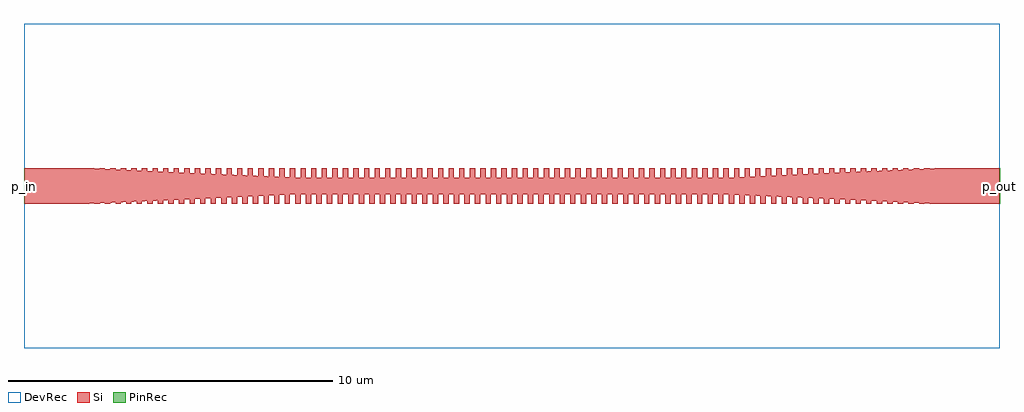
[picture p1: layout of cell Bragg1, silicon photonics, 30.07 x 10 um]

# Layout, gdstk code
import gdstk
lib = gdstk.Library(unit=1e-6, precision=1e-09)
def R(c, l, rs):  # rectangles x0, y0, x1, y1
    for r in rs: c.add(gdstk.rectangle(r[:2], r[2:], *l))
def P(c, l, *ps):  # polygons
    for p in ps: c.add(gdstk.Polygon(p, *l))
Si = (1, 0)
PinRec = (1, 10)
DevRec = (68, 0)

u_corr41 = lib.new_cell('U_corr41')
R(u_corr41, Si, [(15.027,0,15.191,0.55)])

b_corr40 = lib.new_cell('B_corr40')
R(b_corr40, Si, [(14.866,-0.55,15.029,0)])

c_wg = lib.new_cell('wg')
R(c_wg, Si, [(8.514,-0.26,21.542,0.26)])

u_corr79 = lib.new_cell('U_corr79')
R(u_corr79, Si, [(27.405,0,27.568,0.55)])

b_corr78 = lib.new_cell('B_corr78')
R(b_corr78, Si, [(27.242,-0.55,27.405,0)])

u_corr78 = lib.new_cell('U_corr78')
R(u_corr78, Si, [(27.079,0,27.242,0.55)])

b_corr77 = lib.new_cell('B_corr77')
R(b_corr77, Si, [(26.916,-0.55,27.079,0)])

u_corr77 = lib.new_cell('U_corr77')
R(u_corr77, Si, [(26.754,0,26.917,0.55)])

b_corr76 = lib.new_cell('B_corr76')
R(b_corr76, Si, [(26.591,-0.55,26.754,0)])

u_corr76 = lib.new_cell('U_corr76')
R(u_corr76, Si, [(26.428,0,26.591,0.55)])

b_corr75 = lib.new_cell('B_corr75')
R(b_corr75, Si, [(26.265,-0.55,26.428,0)])

u_corr75 = lib.new_cell('U_corr75')
R(u_corr75, Si, [(26.102,0,26.265,0.55)])

b_corr74 = lib.new_cell('B_corr74')
R(b_corr74, Si, [(25.939,-0.55,26.102,0)])

u_corr74 = lib.new_cell('U_corr74')
R(u_corr74, Si, [(25.777,0,25.94,0.55)])

b_corr73 = lib.new_cell('B_corr73')
R(b_corr73, Si, [(25.614,-0.55,25.776,0)])

u_corr73 = lib.new_cell('U_corr73')
R(u_corr73, Si, [(25.451,0,25.614,0.55)])

b_corr72 = lib.new_cell('B_corr72')
R(b_corr72, Si, [(25.288,-0.55,25.45,0)])

u_corr72 = lib.new_cell('U_corr72')
R(u_corr72, Si, [(25.125,0,25.288,0.55)])

b_corr71 = lib.new_cell('B_corr71')
R(b_corr71, Si, [(24.962,-0.55,25.125,0)])

u_corr71 = lib.new_cell('U_corr71')
R(u_corr71, Si, [(24.799,0,24.962,0.55)])

b_corr70 = lib.new_cell('B_corr70')
R(b_corr70, Si, [(24.637,-0.55,24.8,0)])

u_corr70 = lib.new_cell('U_corr70')
R(u_corr70, Si, [(24.474,0,24.637,0.55)])

b_corr69 = lib.new_cell('B_corr69')
R(b_corr69, Si, [(24.311,-0.55,24.474,0)])

u_corr69 = lib.new_cell('U_corr69')
R(u_corr69, Si, [(24.148,0,24.311,0.55)])

b_corr68 = lib.new_cell('B_corr68')
R(b_corr68, Si, [(23.985,-0.55,24.148,0)])

u_corr68 = lib.new_cell('U_corr68')
R(u_corr68, Si, [(23.822,0,23.985,0.55)])

b_corr67 = lib.new_cell('B_corr67')
R(b_corr67, Si, [(23.659,-0.55,23.822,0)])

u_corr67 = lib.new_cell('U_corr67')
R(u_corr67, Si, [(23.497,0,23.659,0.55)])

b_corr66 = lib.new_cell('B_corr66')
R(b_corr66, Si, [(23.334,-0.55,23.497,0)])

u_corr66 = lib.new_cell('U_corr66')
R(u_corr66, Si, [(23.171,0,23.333,0.55)])

b_corr65 = lib.new_cell('B_corr65')
R(b_corr65, Si, [(23.008,-0.55,23.171,0)])

u_corr65 = lib.new_cell('U_corr65')
R(u_corr65, Si, [(22.845,0,23.007,0.55)])

b_corr64 = lib.new_cell('B_corr64')
R(b_corr64, Si, [(22.682,-0.55,22.845,0)])

u_corr64 = lib.new_cell('U_corr64')
R(u_corr64, Si, [(22.52,0,22.683,0.55)])

b_corr63 = lib.new_cell('B_corr63')
R(b_corr63, Si, [(22.357,-0.55,22.52,0)])

u_corr63 = lib.new_cell('U_corr63')
R(u_corr63, Si, [(22.194,0,22.357,0.55)])

b_corr62 = lib.new_cell('B_corr62')
R(b_corr62, Si, [(22.031,-0.55,22.194,0)])

u_corr62 = lib.new_cell('U_corr62')
R(u_corr62, Si, [(21.868,0,22.031,0.55)])

b_corr61 = lib.new_cell('B_corr61')
R(b_corr61, Si, [(21.705,-0.55,21.868,0)])

u_corr61 = lib.new_cell('U_corr61')
R(u_corr61, Si, [(21.542,0,21.705,0.55)])

b_corr60 = lib.new_cell('B_corr60')
R(b_corr60, Si, [(21.38,-0.55,21.542,0)])

u_corr60 = lib.new_cell('U_corr60')
R(u_corr60, Si, [(21.217,0,21.38,0.55)])

b_corr59 = lib.new_cell('B_corr59')
R(b_corr59, Si, [(21.054,-0.55,21.216,0)])

u_corr59 = lib.new_cell('U_corr59')
R(u_corr59, Si, [(20.891,0,21.054,0.55)])

b_corr58 = lib.new_cell('B_corr58')
R(b_corr58, Si, [(20.728,-0.55,20.89,0)])

u_corr58 = lib.new_cell('U_corr58')
R(u_corr58, Si, [(20.565,0,20.728,0.55)])

b_corr57 = lib.new_cell('B_corr57')
R(b_corr57, Si, [(20.402,-0.55,20.564,0)])

u_corr57 = lib.new_cell('U_corr57')
R(u_corr57, Si, [(20.24,0,20.403,0.55)])

b_corr56 = lib.new_cell('B_corr56')
R(b_corr56, Si, [(20.077,-0.55,20.24,0)])

u_corr56 = lib.new_cell('U_corr56')
R(u_corr56, Si, [(19.914,0,20.077,0.55)])

b_corr55 = lib.new_cell('B_corr55')
R(b_corr55, Si, [(19.751,-0.55,19.914,0)])

u_corr55 = lib.new_cell('U_corr55')
R(u_corr55, Si, [(19.588,0,19.751,0.55)])

b_corr54 = lib.new_cell('B_corr54')
R(b_corr54, Si, [(19.425,-0.55,19.588,0)])

u_corr54 = lib.new_cell('U_corr54')
R(u_corr54, Si, [(19.263,0,19.425,0.55)])

b_corr53 = lib.new_cell('B_corr53')
R(b_corr53, Si, [(19.1,-0.55,19.263,0)])

u_corr53 = lib.new_cell('U_corr53')
R(u_corr53, Si, [(18.937,0,19.099,0.55)])

b_corr52 = lib.new_cell('B_corr52')
R(b_corr52, Si, [(18.774,-0.55,18.937,0)])

u_corr52 = lib.new_cell('U_corr52')
R(u_corr52, Si, [(18.611,0,18.773,0.55)])

b_corr51 = lib.new_cell('B_corr51')
R(b_corr51, Si, [(18.448,-0.55,18.611,0)])

u_corr51 = lib.new_cell('U_corr51')
R(u_corr51, Si, [(18.285,0,18.447,0.55)])

b_corr50 = lib.new_cell('B_corr50')
R(b_corr50, Si, [(18.123,-0.55,18.286,0)])

u_corr50 = lib.new_cell('U_corr50')
R(u_corr50, Si, [(17.96,0,18.123,0.55)])

b_corr49 = lib.new_cell('B_corr49')
R(b_corr49, Si, [(17.797,-0.55,17.96,0)])

u_corr49 = lib.new_cell('U_corr49')
R(u_corr49, Si, [(17.634,0,17.797,0.55)])

b_corr48 = lib.new_cell('B_corr48')
R(b_corr48, Si, [(17.471,-0.55,17.634,0)])

u_corr48 = lib.new_cell('U_corr48')
R(u_corr48, Si, [(17.308,0,17.471,0.55)])

b_corr47 = lib.new_cell('B_corr47')
R(b_corr47, Si, [(17.145,-0.55,17.308,0)])

u_corr47 = lib.new_cell('U_corr47')
R(u_corr47, Si, [(16.983,0,17.146,0.55)])

b_corr46 = lib.new_cell('B_corr46')
R(b_corr46, Si, [(16.82,-0.55,16.982,0)])

u_corr46 = lib.new_cell('U_corr46')
R(u_corr46, Si, [(16.657,0,16.82,0.55)])

b_corr45 = lib.new_cell('B_corr45')
R(b_corr45, Si, [(16.494,-0.55,16.656,0)])

u_corr45 = lib.new_cell('U_corr45')
R(u_corr45, Si, [(16.331,0,16.494,0.55)])

b_corr44 = lib.new_cell('B_corr44')
R(b_corr44, Si, [(16.168,-0.55,16.33,0)])

u_corr44 = lib.new_cell('U_corr44')
R(u_corr44, Si, [(16.006,0,16.168,0.55)])

b_corr43 = lib.new_cell('B_corr43')
R(b_corr43, Si, [(15.843,-0.55,16.006,0)])

u_corr43 = lib.new_cell('U_corr43')
R(u_corr43, Si, [(15.68,0,15.842,0.55)])

b_corr42 = lib.new_cell('B_corr42')
R(b_corr42, Si, [(15.517,-0.55,15.68,0)])

u_corr42 = lib.new_cell('U_corr42')
R(u_corr42, Si, [(15.354,0,15.516,0.55)])

b_corr41 = lib.new_cell('B_corr41')
R(b_corr41, Si, [(15.191,-0.55,15.354,0)])

b_corr80 = lib.new_cell('B_corr80')
R(b_corr80, Si, [(27.894,-0.55,28.057,0)])

u_corr80 = lib.new_cell('U_corr80')
R(u_corr80, Si, [(27.731,0,27.893,0.55)])

wg_out = lib.new_cell('wg_Out')
R(wg_out, Si, [(28.056,-0.55,30.056,0.55)])

taper_out = lib.new_cell('taper_out')
P(taper_out, Si, [(28.056,-0.55),(21.542,-0.26),(21.542,0.26),(28.056,0.55)])

b_corr79 = lib.new_cell('B_corr79')
R(b_corr79, Si, [(27.568,-0.55,27.731,0)])

b_corr38 = lib.new_cell('B_corr38')
R(b_corr38, Si, [(14.214,-0.55,14.377,0)])

u_corr38 = lib.new_cell('U_corr38')
R(u_corr38, Si, [(14.051,0,14.214,0.55)])

b_corr37 = lib.new_cell('B_corr37')
R(b_corr37, Si, [(13.888,-0.55,14.051,0)])

u_corr37 = lib.new_cell('U_corr37')
R(u_corr37, Si, [(13.725,0,13.889,0.55)])

b_corr36 = lib.new_cell('B_corr36')
R(b_corr36, Si, [(13.562,-0.55,13.726,0)])

u_corr36 = lib.new_cell('U_corr36')
R(u_corr36, Si, [(13.399,0,13.563,0.55)])

b_corr35 = lib.new_cell('B_corr35')
R(b_corr35, Si, [(13.236,-0.55,13.4,0)])

u_corr35 = lib.new_cell('U_corr35')
R(u_corr35, Si, [(13.073,0,13.237,0.55)])

b_corr34 = lib.new_cell('B_corr34')
R(b_corr34, Si, [(12.91,-0.55,13.074,0)])

u_corr34 = lib.new_cell('U_corr34')
R(u_corr34, Si, [(12.749,0,12.912,0.55)])

b_corr33 = lib.new_cell('B_corr33')
R(b_corr33, Si, [(12.586,-0.55,12.749,0)])

u_corr33 = lib.new_cell('U_corr33')
R(u_corr33, Si, [(12.423,0,12.586,0.55)])

b_corr32 = lib.new_cell('B_corr32')
R(b_corr32, Si, [(12.26,-0.55,12.423,0)])

u_corr32 = lib.new_cell('U_corr32')
R(u_corr32, Si, [(12.097,0,12.26,0.55)])

b_corr31 = lib.new_cell('B_corr31')
R(b_corr31, Si, [(11.934,-0.55,12.097,0)])

u_corr31 = lib.new_cell('U_corr31')
R(u_corr31, Si, [(11.771,0,11.934,0.55)])

b_corr30 = lib.new_cell('B_corr30')
R(b_corr30, Si, [(11.608,-0.55,11.772,0)])

u_corr30 = lib.new_cell('U_corr30')
R(u_corr30, Si, [(11.445,0,11.609,0.55)])

b_corr29 = lib.new_cell('B_corr29')
R(b_corr29, Si, [(11.282,-0.55,11.446,0)])

u_corr29 = lib.new_cell('U_corr29')
R(u_corr29, Si, [(11.119,0,11.283,0.55)])

b_corr28 = lib.new_cell('B_corr28')
R(b_corr28, Si, [(10.956,-0.55,11.12,0)])

u_corr28 = lib.new_cell('U_corr28')
R(u_corr28, Si, [(10.793,0,10.957,0.55)])

b_corr27 = lib.new_cell('B_corr27')
R(b_corr27, Si, [(10.63,-0.55,10.794,0)])

u_corr27 = lib.new_cell('U_corr27')
R(u_corr27, Si, [(10.469,0,10.632,0.55)])

b_corr26 = lib.new_cell('B_corr26')
R(b_corr26, Si, [(10.306,-0.55,10.469,0)])

u_corr26 = lib.new_cell('U_corr26')
R(u_corr26, Si, [(10.143,0,10.306,0.55)])

b_corr25 = lib.new_cell('B_corr25')
R(b_corr25, Si, [(9.98,-0.55,10.143,0)])

u_corr25 = lib.new_cell('U_corr25')
R(u_corr25, Si, [(9.817,0,9.98,0.55)])

b_corr24 = lib.new_cell('B_corr24')
R(b_corr24, Si, [(9.654,-0.55,9.817,0)])

u_corr24 = lib.new_cell('U_corr24')
R(u_corr24, Si, [(9.492,0,9.655,0.55)])

b_corr23 = lib.new_cell('B_corr23')
R(b_corr23, Si, [(9.329,-0.55,9.492,0)])

u_corr23 = lib.new_cell('U_corr23')
R(u_corr23, Si, [(9.166,0,9.329,0.55)])

b_corr22 = lib.new_cell('B_corr22')
R(b_corr22, Si, [(9.002,-0.55,9.166,0)])

u_corr22 = lib.new_cell('U_corr22')
R(u_corr22, Si, [(8.839,0,9.003,0.55)])

b_corr21 = lib.new_cell('B_corr21')
R(b_corr21, Si, [(8.676,-0.55,8.84,0)])

u_corr21 = lib.new_cell('U_corr21')
R(u_corr21, Si, [(8.513,0,8.677,0.55)])

b_corr20 = lib.new_cell('B_corr20')
R(b_corr20, Si, [(8.351,-0.55,8.515,0)])

u_corr20 = lib.new_cell('U_corr20')
R(u_corr20, Si, [(8.188,0,8.352,0.55)])

b_corr19 = lib.new_cell('B_corr19')
R(b_corr19, Si, [(8.025,-0.55,8.189,0)])

u_corr19 = lib.new_cell('U_corr19')
R(u_corr19, Si, [(7.862,0,8.026,0.55)])

b_corr18 = lib.new_cell('B_corr18')
R(b_corr18, Si, [(7.699,-0.55,7.863,0)])

u_corr18 = lib.new_cell('U_corr18')
R(u_corr18, Si, [(7.537,0,7.7,0.55)])

b_corr17 = lib.new_cell('B_corr17')
R(b_corr17, Si, [(7.374,-0.55,7.537,0)])

u_corr17 = lib.new_cell('U_corr17')
R(u_corr17, Si, [(7.212,0,7.375,0.55)])

b_corr16 = lib.new_cell('B_corr16')
R(b_corr16, Si, [(7.049,-0.55,7.212,0)])

u_corr16 = lib.new_cell('U_corr16')
R(u_corr16, Si, [(6.886,0,7.049,0.55)])

b_corr15 = lib.new_cell('B_corr15')
R(b_corr15, Si, [(6.723,-0.55,6.886,0)])

u_corr15 = lib.new_cell('U_corr15')
R(u_corr15, Si, [(6.56,0,6.723,0.55)])

b_corr14 = lib.new_cell('B_corr14')
R(b_corr14, Si, [(6.397,-0.55,6.56,0)])

u_corr14 = lib.new_cell('U_corr14')
R(u_corr14, Si, [(6.235,0,6.398,0.55)])

b_corr13 = lib.new_cell('B_corr13')
R(b_corr13, Si, [(6.072,-0.55,6.235,0)])

u_corr13 = lib.new_cell('U_corr13')
R(u_corr13, Si, [(5.909,0,6.072,0.55)])

b_corr12 = lib.new_cell('B_corr12')
R(b_corr12, Si, [(5.746,-0.55,5.909,0)])

u_corr12 = lib.new_cell('U_corr12')
R(u_corr12, Si, [(5.583,0,5.746,0.55)])

b_corr11 = lib.new_cell('B_corr11')
R(b_corr11, Si, [(5.42,-0.55,5.583,0)])

u_corr11 = lib.new_cell('U_corr11')
R(u_corr11, Si, [(5.257,0,5.42,0.55)])

b_corr10 = lib.new_cell('B_corr10')
R(b_corr10, Si, [(5.095,-0.55,5.258,0)])

u_corr10 = lib.new_cell('U_corr10')
R(u_corr10, Si, [(4.932,0,5.095,0.55)])

b_corr9 = lib.new_cell('B_corr9')
R(b_corr9, Si, [(4.769,-0.55,4.932,0)])

u_corr9 = lib.new_cell('U_corr9')
R(u_corr9, Si, [(4.606,0,4.769,0.55)])

b_corr8 = lib.new_cell('B_corr8')
R(b_corr8, Si, [(4.443,-0.55,4.606,0)])

u_corr8 = lib.new_cell('U_corr8')
R(u_corr8, Si, [(4.28,0,4.443,0.55)])

b_corr7 = lib.new_cell('B_corr7')
R(b_corr7, Si, [(4.117,-0.55,4.28,0)])

u_corr7 = lib.new_cell('U_corr7')
R(u_corr7, Si, [(3.954,0,4.118,0.55)])

b_corr6 = lib.new_cell('B_corr6')
R(b_corr6, Si, [(3.792,-0.55,3.954,0)])

u_corr6 = lib.new_cell('U_corr6')
R(u_corr6, Si, [(3.629,0,3.792,0.55)])

b_corr5 = lib.new_cell('B_corr5')
R(b_corr5, Si, [(3.466,-0.55,3.629,0)])

u_corr5 = lib.new_cell('U_corr5')
R(u_corr5, Si, [(3.303,0,3.466,0.55)])

b_corr4 = lib.new_cell('B_corr4')
R(b_corr4, Si, [(3.14,-0.55,3.303,0)])

u_corr4 = lib.new_cell('U_corr4')
R(u_corr4, Si, [(2.978,0,3.141,0.55)])

b_corr3 = lib.new_cell('B_corr3')
R(b_corr3, Si, [(2.815,-0.55,2.978,0)])

u_corr3 = lib.new_cell('U_corr3')
R(u_corr3, Si, [(2.652,0,2.815,0.55)])

b_corr2 = lib.new_cell('B_corr2')
R(b_corr2, Si, [(2.489,-0.55,2.652,0)])

u_corr2 = lib.new_cell('U_corr2')
R(u_corr2, Si, [(2.326,0,2.489,0.55)])

b_corr1 = lib.new_cell('B_corr1')
R(b_corr1, Si, [(2.163,-0.55,2.326,0)])

u_corr1 = lib.new_cell('U_corr1')
R(u_corr1, Si, [(2,0,2.163,0.55)])

u_corr40 = lib.new_cell('U_corr40')
R(u_corr40, Si, [(14.703,0,14.866,0.55)])

b_corr39 = lib.new_cell('B_corr39')
R(b_corr39, Si, [(14.54,-0.55,14.703,0)])

u_corr39 = lib.new_cell('U_corr39')
R(u_corr39, Si, [(14.377,0,14.54,0.55)])

taper_in = lib.new_cell('taper_In')
P(taper_in, Si, [(2,-0.55),(2,0.55),(8.514,0.26),(8.514,-0.26)])

wg_in = lib.new_cell('wg_In')
R(wg_in, Si, [(0,-0.55,2,0.55)])

mm_bragg = lib.new_cell('MM_Bragg')
mm_bragg.add(gdstk.Reference(u_corr41, (0,0)))
mm_bragg.add(gdstk.Reference(b_corr40, (0,0)))
mm_bragg.add(gdstk.Reference(c_wg, (0,0)))
mm_bragg.add(gdstk.Reference(u_corr79, (0,0)))
mm_bragg.add(gdstk.Reference(b_corr78, (0,0)))
mm_bragg.add(gdstk.Reference(u_corr78, (0,0)))
mm_bragg.add(gdstk.Reference(b_corr77, (0,0)))
mm_bragg.add(gdstk.Reference(u_corr77, (0,0)))
mm_bragg.add(gdstk.Reference(b_corr76, (0,0)))
mm_bragg.add(gdstk.Reference(u_corr76, (0,0)))
mm_bragg.add(gdstk.Reference(b_corr75, (0,0)))
mm_bragg.add(gdstk.Reference(u_corr75, (0,0)))
mm_bragg.add(gdstk.Reference(b_corr74, (0,0)))
mm_bragg.add(gdstk.Reference(u_corr74, (0,0)))
mm_bragg.add(gdstk.Reference(b_corr73, (0,0)))
mm_bragg.add(gdstk.Reference(u_corr73, (0,0)))
mm_bragg.add(gdstk.Reference(b_corr72, (0,0)))
mm_bragg.add(gdstk.Reference(u_corr72, (0,0)))
mm_bragg.add(gdstk.Reference(b_corr71, (0,0)))
mm_bragg.add(gdstk.Reference(u_corr71, (0,0)))
mm_bragg.add(gdstk.Reference(b_corr70, (0,0)))
mm_bragg.add(gdstk.Reference(u_corr70, (0,0)))
mm_bragg.add(gdstk.Reference(b_corr69, (0,0)))
mm_bragg.add(gdstk.Reference(u_corr69, (0,0)))
mm_bragg.add(gdstk.Reference(b_corr68, (0,0)))
mm_bragg.add(gdstk.Reference(u_corr68, (0,0)))
mm_bragg.add(gdstk.Reference(b_corr67, (0,0)))
mm_bragg.add(gdstk.Reference(u_corr67, (0,0)))
mm_bragg.add(gdstk.Reference(b_corr66, (0,0)))
mm_bragg.add(gdstk.Reference(u_corr66, (0,0)))
mm_bragg.add(gdstk.Reference(b_corr65, (0,0)))
mm_bragg.add(gdstk.Reference(u_corr65, (0,0)))
mm_bragg.add(gdstk.Reference(b_corr64, (0,0)))
mm_bragg.add(gdstk.Reference(u_corr64, (0,0)))
mm_bragg.add(gdstk.Reference(b_corr63, (0,0)))
mm_bragg.add(gdstk.Reference(u_corr63, (0,0)))
mm_bragg.add(gdstk.Reference(b_corr62, (0,0)))
mm_bragg.add(gdstk.Reference(u_corr62, (0,0)))
mm_bragg.add(gdstk.Reference(b_corr61, (0,0)))
mm_bragg.add(gdstk.Reference(u_corr61, (0,0)))
mm_bragg.add(gdstk.Reference(b_corr60, (0,0)))
mm_bragg.add(gdstk.Reference(u_corr60, (0,0)))
mm_bragg.add(gdstk.Reference(b_corr59, (0,0)))
mm_bragg.add(gdstk.Reference(u_corr59, (0,0)))
mm_bragg.add(gdstk.Reference(b_corr58, (0,0)))
mm_bragg.add(gdstk.Reference(u_corr58, (0,0)))
mm_bragg.add(gdstk.Reference(b_corr57, (0,0)))
mm_bragg.add(gdstk.Reference(u_corr57, (0,0)))
mm_bragg.add(gdstk.Reference(b_corr56, (0,0)))
mm_bragg.add(gdstk.Reference(u_corr56, (0,0)))
mm_bragg.add(gdstk.Reference(b_corr55, (0,0)))
mm_bragg.add(gdstk.Reference(u_corr55, (0,0)))
mm_bragg.add(gdstk.Reference(b_corr54, (0,0)))
mm_bragg.add(gdstk.Reference(u_corr54, (0,0)))
mm_bragg.add(gdstk.Reference(b_corr53, (0,0)))
mm_bragg.add(gdstk.Reference(u_corr53, (0,0)))
mm_bragg.add(gdstk.Reference(b_corr52, (0,0)))
mm_bragg.add(gdstk.Reference(u_corr52, (0,0)))
mm_bragg.add(gdstk.Reference(b_corr51, (0,0)))
mm_bragg.add(gdstk.Reference(u_corr51, (0,0)))
mm_bragg.add(gdstk.Reference(b_corr50, (0,0)))
mm_bragg.add(gdstk.Reference(u_corr50, (0,0)))
mm_bragg.add(gdstk.Reference(b_corr49, (0,0)))
mm_bragg.add(gdstk.Reference(u_corr49, (0,0)))
mm_bragg.add(gdstk.Reference(b_corr48, (0,0)))
mm_bragg.add(gdstk.Reference(u_corr48, (0,0)))
mm_bragg.add(gdstk.Reference(b_corr47, (0,0)))
mm_bragg.add(gdstk.Reference(u_corr47, (0,0)))
mm_bragg.add(gdstk.Reference(b_corr46, (0,0)))
mm_bragg.add(gdstk.Reference(u_corr46, (0,0)))
mm_bragg.add(gdstk.Reference(b_corr45, (0,0)))
mm_bragg.add(gdstk.Reference(u_corr45, (0,0)))
mm_bragg.add(gdstk.Reference(b_corr44, (0,0)))
mm_bragg.add(gdstk.Reference(u_corr44, (0,0)))
mm_bragg.add(gdstk.Reference(b_corr43, (0,0)))
mm_bragg.add(gdstk.Reference(u_corr43, (0,0)))
mm_bragg.add(gdstk.Reference(b_corr42, (0,0)))
mm_bragg.add(gdstk.Reference(u_corr42, (0,0)))
mm_bragg.add(gdstk.Reference(b_corr41, (0,0)))
mm_bragg.add(gdstk.Reference(b_corr80, (0,0)))
mm_bragg.add(gdstk.Reference(u_corr80, (0,0)))
mm_bragg.add(gdstk.Reference(wg_out, (0,0)))
mm_bragg.add(gdstk.Reference(taper_out, (0,0)))
mm_bragg.add(gdstk.Reference(b_corr79, (0,0)))
mm_bragg.add(gdstk.Reference(b_corr38, (0,0)))
mm_bragg.add(gdstk.Reference(u_corr38, (0,0)))
mm_bragg.add(gdstk.Reference(b_corr37, (0,0)))
mm_bragg.add(gdstk.Reference(u_corr37, (0,0)))
mm_bragg.add(gdstk.Reference(b_corr36, (0,0)))
mm_bragg.add(gdstk.Reference(u_corr36, (0,0)))
mm_bragg.add(gdstk.Reference(b_corr35, (0,0)))
mm_bragg.add(gdstk.Reference(u_corr35, (0,0)))
mm_bragg.add(gdstk.Reference(b_corr34, (0,0)))
mm_bragg.add(gdstk.Reference(u_corr34, (0,0)))
mm_bragg.add(gdstk.Reference(b_corr33, (0,0)))
mm_bragg.add(gdstk.Reference(u_corr33, (0,0)))
mm_bragg.add(gdstk.Reference(b_corr32, (0,0)))
mm_bragg.add(gdstk.Reference(u_corr32, (0,0)))
mm_bragg.add(gdstk.Reference(b_corr31, (0,0)))
mm_bragg.add(gdstk.Reference(u_corr31, (0,0)))
mm_bragg.add(gdstk.Reference(b_corr30, (0,0)))
mm_bragg.add(gdstk.Reference(u_corr30, (0,0)))
mm_bragg.add(gdstk.Reference(b_corr29, (0,0)))
mm_bragg.add(gdstk.Reference(u_corr29, (0,0)))
mm_bragg.add(gdstk.Reference(b_corr28, (0,0)))
mm_bragg.add(gdstk.Reference(u_corr28, (0,0)))
mm_bragg.add(gdstk.Reference(b_corr27, (0,0)))
mm_bragg.add(gdstk.Reference(u_corr27, (0,0)))
mm_bragg.add(gdstk.Reference(b_corr26, (0,0)))
mm_bragg.add(gdstk.Reference(u_corr26, (0,0)))
mm_bragg.add(gdstk.Reference(b_corr25, (0,0)))
mm_bragg.add(gdstk.Reference(u_corr25, (0,0)))
mm_bragg.add(gdstk.Reference(b_corr24, (0,0)))
mm_bragg.add(gdstk.Reference(u_corr24, (0,0)))
mm_bragg.add(gdstk.Reference(b_corr23, (0,0)))
mm_bragg.add(gdstk.Reference(u_corr23, (0,0)))
mm_bragg.add(gdstk.Reference(b_corr22, (0,0)))
mm_bragg.add(gdstk.Reference(u_corr22, (0,0)))
mm_bragg.add(gdstk.Reference(b_corr21, (0,0)))
mm_bragg.add(gdstk.Reference(u_corr21, (0,0)))
mm_bragg.add(gdstk.Reference(b_corr20, (0,0)))
mm_bragg.add(gdstk.Reference(u_corr20, (0,0)))
mm_bragg.add(gdstk.Reference(b_corr19, (0,0)))
mm_bragg.add(gdstk.Reference(u_corr19, (0,0)))
mm_bragg.add(gdstk.Reference(b_corr18, (0,0)))
mm_bragg.add(gdstk.Reference(u_corr18, (0,0)))
mm_bragg.add(gdstk.Reference(b_corr17, (0,0)))
mm_bragg.add(gdstk.Reference(u_corr17, (0,0)))
mm_bragg.add(gdstk.Reference(b_corr16, (0,0)))
mm_bragg.add(gdstk.Reference(u_corr16, (0,0)))
mm_bragg.add(gdstk.Reference(b_corr15, (0,0)))
mm_bragg.add(gdstk.Reference(u_corr15, (0,0)))
mm_bragg.add(gdstk.Reference(b_corr14, (0,0)))
mm_bragg.add(gdstk.Reference(u_corr14, (0,0)))
mm_bragg.add(gdstk.Reference(b_corr13, (0,0)))
mm_bragg.add(gdstk.Reference(u_corr13, (0,0)))
mm_bragg.add(gdstk.Reference(b_corr12, (0,0)))
mm_bragg.add(gdstk.Reference(u_corr12, (0,0)))
mm_bragg.add(gdstk.Reference(b_corr11, (0,0)))
mm_bragg.add(gdstk.Reference(u_corr11, (0,0)))
mm_bragg.add(gdstk.Reference(b_corr10, (0,0)))
mm_bragg.add(gdstk.Reference(u_corr10, (0,0)))
mm_bragg.add(gdstk.Reference(b_corr9, (0,0)))
mm_bragg.add(gdstk.Reference(u_corr9, (0,0)))
mm_bragg.add(gdstk.Reference(b_corr8, (0,0)))
mm_bragg.add(gdstk.Reference(u_corr8, (0,0)))
mm_bragg.add(gdstk.Reference(b_corr7, (0,0)))
mm_bragg.add(gdstk.Reference(u_corr7, (0,0)))
mm_bragg.add(gdstk.Reference(b_corr6, (0,0)))
mm_bragg.add(gdstk.Reference(u_corr6, (0,0)))
mm_bragg.add(gdstk.Reference(b_corr5, (0,0)))
mm_bragg.add(gdstk.Reference(u_corr5, (0,0)))
mm_bragg.add(gdstk.Reference(b_corr4, (0,0)))
mm_bragg.add(gdstk.Reference(u_corr4, (0,0)))
mm_bragg.add(gdstk.Reference(b_corr3, (0,0)))
mm_bragg.add(gdstk.Reference(u_corr3, (0,0)))
mm_bragg.add(gdstk.Reference(b_corr2, (0,0)))
mm_bragg.add(gdstk.Reference(u_corr2, (0,0)))
mm_bragg.add(gdstk.Reference(b_corr1, (0,0)))
mm_bragg.add(gdstk.Reference(u_corr1, (0,0)))
mm_bragg.add(gdstk.Reference(u_corr40, (0,0)))
mm_bragg.add(gdstk.Reference(b_corr39, (0,0)))
mm_bragg.add(gdstk.Reference(u_corr39, (0,0)))
mm_bragg.add(gdstk.Reference(taper_in, (0,0)))
mm_bragg.add(gdstk.Reference(wg_in, (0,0)))

bragg1 = lib.new_cell('Bragg1')
R(bragg1, DevRec, [(0,-5,30.056,5)])
bragg1.add(gdstk.FlexPath([(0.005,0),(-0.005,0)], 1.1, ends="flush", simple_path=True, layer=1, datatype=10))  # PinRec
bragg1.add(gdstk.FlexPath([(30.051,0),(30.061,0)], 1.1, ends="flush", simple_path=True, layer=1, datatype=10))  # PinRec
bragg1.add(gdstk.Reference(mm_bragg, (0,0)))
bragg1.add(gdstk.Label('p_in', (0,0), layer=1, texttype=10))
bragg1.add(gdstk.Label('p_out', (30.056,0), layer=1, texttype=10))

lib.write_gds('Bragg1.gds')
